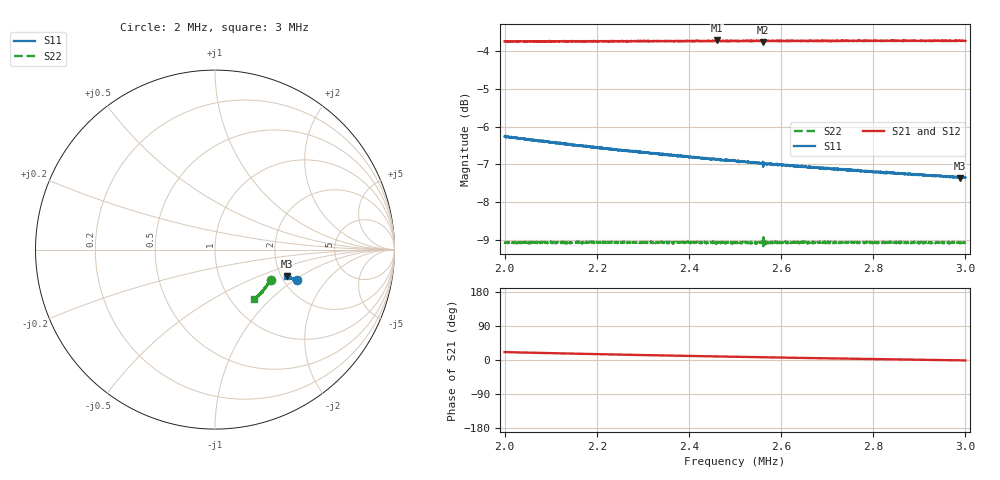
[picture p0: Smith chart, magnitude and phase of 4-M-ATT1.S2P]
!Keysight Technologies,E5063A,MY54504603,A.05.08
!Date: Wed Nov 25 12:29:55 2026
!Data & Calibration Information:
!Freq	S11:NONE(--)	S21:NONE(--)	S12:NONE(--)	S22:NONE(--)
# Hz S dB R 50
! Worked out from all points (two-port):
!   2001 points, 2 MHz to 3 MHz, reference 50 ohm
!   highest |S21| = -3.71 dB at 2.461 MHz (marker M1); lowest = -3.8 dB at 2.561 MHz (marker M2)
!   |S21| within 3 dB of the highest: start of sweep to end of sweep
!   lowest |S11| = -7.4 dB at 2.987 MHz (marker M3), VSWR 2.50, Z = 108 - j38.8 ohm
!   |S11| at or under -10 dB: nowhere
!   |S22| runs from -9.2 to -8.9 dB; largest |S21 - S12| = 0.0055
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2000000  -6.26 -20.7  -3.74 20.9  -3.75 20.9  -9.08 -28.3
2018500  -6.28 -20.6  -3.74 20.3  -3.76 20.4  -9.07 -28.7
2085000  -6.38 -20.6  -3.74 18.5  -3.74 18.6  -9.05 -30.3
2167000  -6.49 -20.6  -3.74 16.3  -3.75 16.4  -9.07 -32.5
2240000  -6.61 -20.6  -3.74 14.5  -3.74 14.6  -9.08 -34.3
2260500  -6.63 -20.6  -3.73 14.0  -3.74 14.0  -9.07 -34.8
2333500  -6.71 -20.6  -3.73 12.3  -3.74 12.3  -9.09 -36.5
2415500  -6.82 -20.5  -3.72 10.4  -3.73 10.5  -9.07 -38.5
2445500  -6.86 -20.5  -3.74 9.8  -3.74 9.8  -9.06 -39.1
2461000  -6.85 -20.5  -3.71 9.4  -3.73 9.5  -9.07 -39.6
2473500  -6.89 -20.5  -3.73 9.1  -3.73 9.1  -9.07 -39.9
2500000  -6.91 -20.5  -3.73 8.5  -3.74 8.7  -9.09 -40.4
2560500  -6.93 -20.0  -3.76 7.2  -3.71 7.6  -8.96 -42.2
2566000  -6.98 -20.6  -3.73 7.2  -3.72 7.2  -9.06 -42.1
2575500  -6.99 -20.4  -3.73 7.0  -3.73 7.1  -9.08 -42.2
2633000  -7.06 -20.4  -3.73 5.8  -3.73 5.8  -9.07 -43.5
2667000  -7.09 -20.4  -3.73 5.1  -3.72 5.1  -9.08 -44.4
2802500  -7.21 -20.3  -3.73 2.5  -3.74 2.5  -9.08 -47.4
2833500  -7.21 -20.2  -3.73 1.9  -3.74 1.9  -9.08 -48.0
2891000  -7.27 -20.2  -3.72 0.8  -3.73 0.9  -9.07 -49.4
2987500  -7.36 -20.1  -3.72 -0.9  -3.73 -0.9  -9.07 -51.6
3000000  -7.35 -19.9  -3.72 -1.1  -3.73 -1.1  -9.08 -51.7
